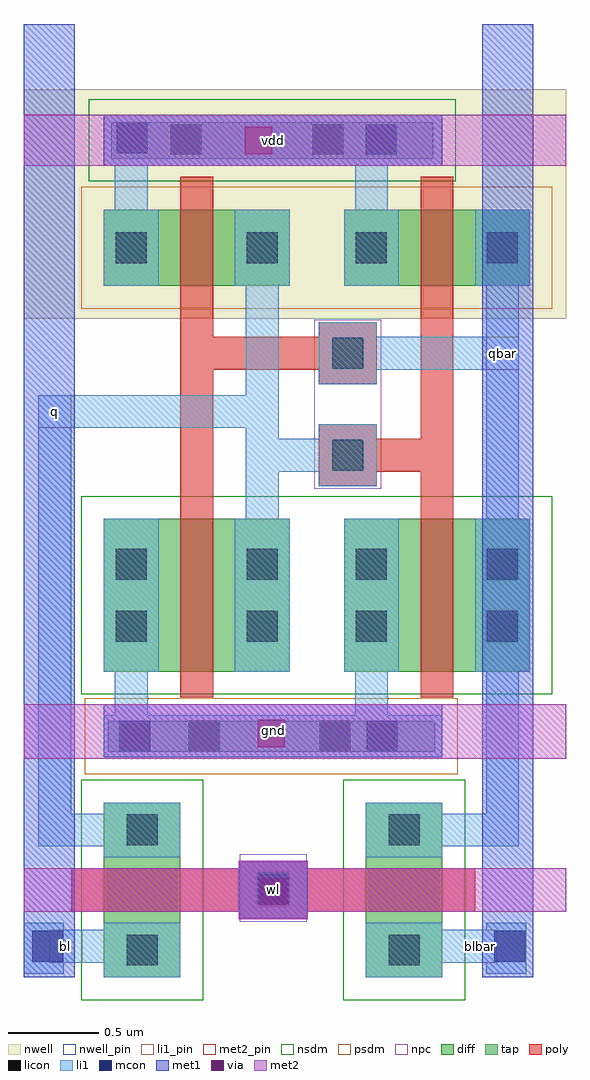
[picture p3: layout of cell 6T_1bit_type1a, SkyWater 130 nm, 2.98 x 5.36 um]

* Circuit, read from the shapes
.subckt 6T_1bit_type1a bl blbar gnd q qbar vdd wl
XM1 q wl bl gnd sky130_fd_pr__nfet_01v8 w=0.42 l=0.24
XM2 q qbar gnd gnd sky130_fd_pr__nfet_01v8 w=0.84 l=0.18
XM3 qbar wl blbar gnd sky130_fd_pr__nfet_01v8 w=0.42 l=0.24
XM4 qbar q gnd gnd sky130_fd_pr__nfet_01v8 w=0.84 l=0.18
XM5 q qbar vdd vdd sky130_fd_pr__pfet_01v8 w=0.42 l=0.18
XM6 qbar q vdd vdd sky130_fd_pr__pfet_01v8 w=0.42 l=0.18
.ends

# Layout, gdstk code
import gdstk
lib = gdstk.Library(unit=1e-6, precision=1e-09)
def R(c, l, rs):  # rectangles x0, y0, x1, y1
    for r in rs: c.add(gdstk.rectangle(r[:2], r[2:], *l))
nwell_pin = (64, 16)
nwell = (64, 20)
diff = (65, 20)
tap = (65, 44)
poly = (66, 20)
licon = (66, 44)
li1_pin = (67, 16)
li1 = (67, 20)
mcon = (67, 44)
met1 = (68, 20)
via = (68, 44)
met2_pin = (69, 16)
met2 = (69, 20)
nsdm = (93, 44)
psdm = (94, 20)
npc = (95, 20)

c_6t_1bit_type1a = lib.new_cell('6T_1bit_type1a')
R(c_6t_1bit_type1a, nwell_pin, [(6.96,15,8.82,15.28)])
R(c_6t_1bit_type1a, nwell, [(6.52,14.16,9.5,15.42)])
R(c_6t_1bit_type1a, diff, [(6.96,10.54,7.38,11.5), (8.4,10.54,8.82,11.5), (6.96,12.22,7.98,13.06), (8.28,12.22,9.3,13.06), (6.96,14.34,7.98,14.76), (8.28,14.34,9.3,14.76)])
R(c_6t_1bit_type1a, tap, [(6.98,11.78,8.78,11.95), (7,15.04,8.77,15.24)])
R(c_6t_1bit_type1a, poly, [(7.7,10.86,8.08,10.9), (6.78,10.9,9,11.14), (7.7,11.14,8.08,11.18), (7.38,12.08,7.56,13.88), (8.7,12.08,8.88,13.32), (8.14,13.24,8.46,13.32), (8.14,13.32,8.88,13.5), (8.14,13.5,8.46,13.58), (8.7,13.5,8.88,14.94), (8.14,13.8,8.46,13.88), (7.38,13.88,8.46,14.06), (7.38,14.06,7.56,14.94), (8.14,14.06,8.46,14.14)])
R(c_6t_1bit_type1a, licon, [(7.085,10.605,7.255,10.775), (8.525,10.605,8.695,10.775), (7.805,10.945,7.975,11.115), (7.085,11.265,7.255,11.435), (8.525,11.265,8.695,11.435), (7.425,11.78,7.595,11.95), (8.145,11.78,8.315,11.95), (7.025,12.385,7.195,12.555), (7.745,12.385,7.915,12.555), (8.345,12.385,8.515,12.555), (9.065,12.385,9.235,12.555), (7.025,12.725,7.195,12.895), (7.745,12.725,7.915,12.895), (8.345,12.725,8.515,12.895), (9.065,12.725,9.235,12.895), (8.215,13.325,8.385,13.495), (8.215,13.885,8.385,14.055), (7.025,14.465,7.195,14.635), (7.745,14.465,7.915,14.635), (8.345,14.465,8.515,14.635), (9.065,14.465,9.235,14.635), (7.325,15.06,7.495,15.23), (8.105,15.06,8.275,15.23)])
R(c_6t_1bit_type1a, li1_pin, [(6.66,10.62,6.84,10.8), (8.94,10.62,9.12,10.8), (6.6,13.56,6.78,13.74), (9.06,13.88,9.24,14.06)])
R(c_6t_1bit_type1a, li1, [(6.96,10.54,7.38,10.62), (8.4,10.54,8.82,10.62), (6.52,10.56,6.74,10.62), (9.06,10.56,9.28,10.62), (6.52,10.62,7.38,10.8), (8.4,10.62,9.28,10.8), (6.52,10.8,6.74,10.84), (6.96,10.8,7.38,10.84), (8.4,10.8,8.82,10.84), (9.06,10.8,9.28,10.84), (7.7,10.86,8.08,11.18), (6.96,11.2,7.38,11.26), (8.4,11.2,8.82,11.26), (6.6,11.26,7.38,11.44), (8.4,11.26,9.24,11.44), (6.6,11.44,6.78,13.56), (6.96,11.44,7.38,11.5), (8.4,11.44,8.82,11.5), (9.06,11.44,9.24,12.22), (6.96,11.75,8.82,11.98), (7.02,11.98,7.2,12.22), (8.34,11.98,8.52,12.22), (6.96,12.22,7.26,13.06), (7.68,12.22,7.98,13.06), (8.28,12.22,8.58,13.06), (9,12.22,9.3,13.06), (7.74,13.06,7.92,13.32), (9.06,13.06,9.24,13.88), (8.14,13.24,8.46,13.32), (7.74,13.32,8.46,13.5), (7.74,13.5,7.92,13.56), (8.14,13.5,8.46,13.58), (6.6,13.56,7.92,13.74), (7.74,13.74,7.92,14.34), (8.14,13.8,8.46,13.88), (8.14,13.88,9.24,14.06), (8.14,14.06,8.46,14.14), (9.06,14.06,9.24,14.34), (6.96,14.34,7.26,14.76), (7.68,14.34,7.98,14.76), (8.28,14.34,8.58,14.76), (9,14.34,9.3,14.76), (7.02,14.76,7.2,15), (8.34,14.76,8.52,15), (6.96,15,8.82,15.28)])
R(c_6t_1bit_type1a, mcon, [(6.565,10.625,6.735,10.795), (9.105,10.625,9.275,10.795), (7.805,10.935,7.975,11.105), (7.045,11.78,7.215,11.95), (8.405,11.78,8.575,11.95), (8.4,15.06,8.57,15.23), (7.03,15.07,7.2,15.24)])
R(c_6t_1bit_type1a, met1, [(6.52,10.54,6.8,15.78), (9.04,10.54,9.32,15.78), (7.7,10.86,8.08,11.18), (6.96,11.75,8.82,12.04), (6.96,15,8.82,15.28)])
R(c_6t_1bit_type1a, via, [(7.815,10.935,7.965,11.085), (7.805,11.805,7.955,11.955), (7.735,15.065,7.885,15.215)])
R(c_6t_1bit_type1a, met2_pin, [(7.7,10.86,8.08,11.18), (6.96,11.75,8.82,12.04)])
R(c_6t_1bit_type1a, met2, [(7.7,10.86,8.08,10.9), (6.52,10.9,9.5,11.14), (7.7,11.14,8.08,11.18), (6.52,11.74,9.5,12.04), (6.52,15,9.5,15.28)])
R(c_6t_1bit_type1a, nsdm, [(6.835,10.415,7.505,11.625), (8.275,10.415,8.945,11.625), (6.835,12.095,9.425,13.185), (6.875,14.915,8.895,15.365)])
R(c_6t_1bit_type1a, psdm, [(6.855,11.655,8.905,12.075), (6.835,14.215,9.425,14.885)])
R(c_6t_1bit_type1a, npc, [(7.705,10.845,8.075,11.215), (8.115,13.225,8.485,14.155)])
c_6t_1bit_type1a.add(gdstk.Label('q', (6.69,13.65), layer=67, texttype=5))
c_6t_1bit_type1a.add(gdstk.Label('qbar', (9.15,13.97), layer=67, texttype=5))
c_6t_1bit_type1a.add(gdstk.Label('blbar', (9.03,10.71), layer=67, texttype=5))
c_6t_1bit_type1a.add(gdstk.Label('bl', (6.75,10.71), layer=67, texttype=5))
c_6t_1bit_type1a.add(gdstk.Label('wl', (7.89,11.02), layer=69, texttype=5))
c_6t_1bit_type1a.add(gdstk.Label('gnd', (7.89,11.895), layer=69, texttype=5))
c_6t_1bit_type1a.add(gdstk.Label('vdd', (7.89,15.14), layer=64, texttype=5))

lib.write_gds('6T_1bit_type1a.gds')
